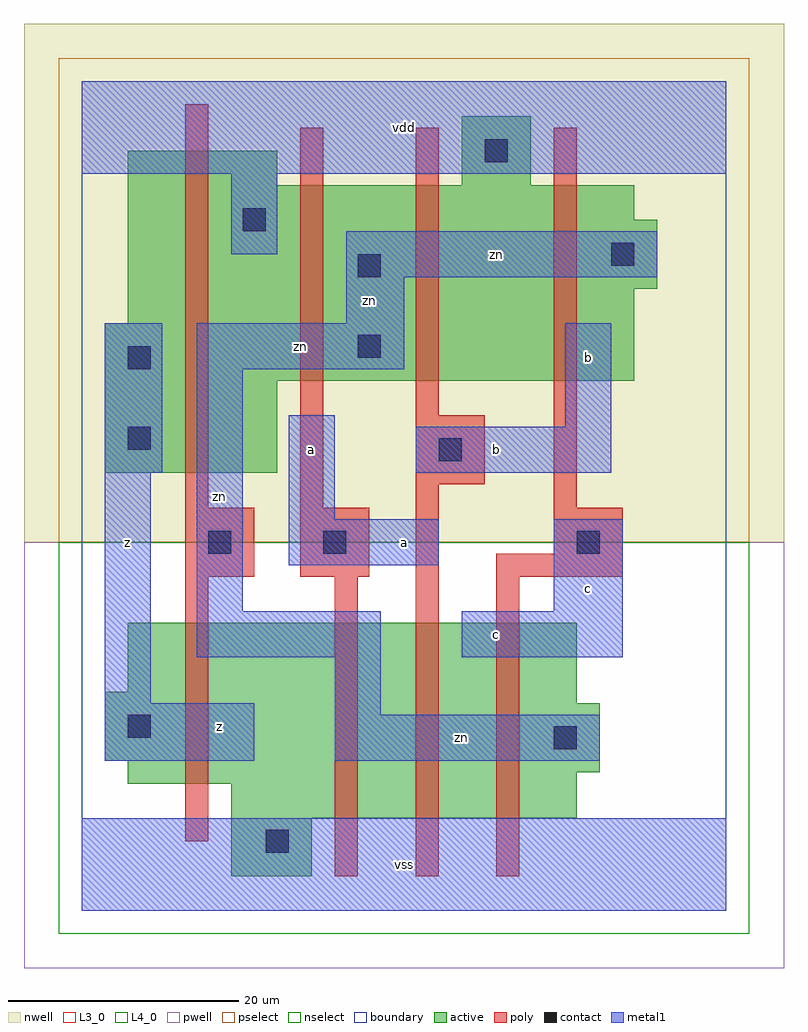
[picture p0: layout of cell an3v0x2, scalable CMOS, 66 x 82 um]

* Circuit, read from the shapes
.subckt an3v0x2 a b c vdd vss z zn
M1 vss zn z VSUBS nfet w=14u l=2u
M2 n1 a vss VSUBS nfet w=17u l=2u
M3 n2 b n1 VSUBS nfet w=17u l=2u
M4 zn c n2 VSUBS nfet w=17u l=2u
M5 vdd zn z n3 pfet w=28u l=2u
M6 zn a vdd n3 pfet w=17u l=2u
M7 vdd b zn n3 pfet w=17u l=2u
M8 zn c vdd n3 pfet w=17u l=2u
.ends

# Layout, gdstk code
import gdstk
lib = gdstk.Library(unit=1e-6, precision=1e-09)
def R(c, l, rs):  # rectangles x0, y0, x1, y1
    for r in rs: c.add(gdstk.rectangle(r[:2], r[2:], *l))
L3_0 = (3, 0)
L4_0 = (4, 0)
contact = (25, 0)
pwell = (41, 0)
nwell = (42, 0)
active = (43, 0)
pselect = (44, 0)
nselect = (45, 0)
poly = (46, 0)
metal1 = (49, 0)
boundary = (63, 0)

an3v0x2 = lib.new_cell('an3v0x2')
R(an3v0x2, L3_0, [(13,3,20,8), (13,8,43,11), (4,11,43,12), (4,12,45,13), (2,13,45,18), (2,18,43,19), (4,19,43,25)])
R(an3v0x2, L4_0, [(2,38,17,46), (2,46,48,51), (4,51,48,54), (4,54,50,60), (4,60,48,63), (4,63,17,66), (33,63,39,69)])
R(an3v0x2, contact, [(16,5,18,7), (41,14,43,16), (4,15,6,17), (11,31,13,33), (21,31,23,33), (43,31,45,33), (31,39,33,41), (4,40,6,42), (4,47,6,49), (24,48,26,50), (24,55,26,57), (46,56,48,58), (14,59,16,61), (35,65,37,67)])
R(an3v0x2, pwell, [(-5,-5,61,32)])
R(an3v0x2, nwell, [(-5,32,61,77)])
R(an3v0x2, active, [(13,3,20,8), (13,8,43,11), (4,11,43,12), (4,12,45,13), (2,13,45,18), (2,18,43,19), (4,19,43,25), (2,38,17,46), (2,46,48,51), (4,51,48,54), (4,54,50,60), (4,60,48,63), (4,63,17,66), (33,63,39,69)])
R(an3v0x2, pselect, [(-2,32,58,74)])
R(an3v0x2, nselect, [(-2,-2,58,32)])
R(an3v0x2, poly, [(22,3,24,29), (29,3,31,37), (36,3,38,29), (9,6,11,29), (9,29,15,35), (19,29,25,35), (36,29,47,31), (41,31,47,35), (9,35,11,70), (19,35,21,68), (41,35,43,68), (29,37,35,43), (29,43,31,68)])
R(an3v0x2, metal1, [(0,0,56,8), (2,13,15,18), (22,13,45,17), (22,17,26,22), (2,18,6,38), (10,22,26,26), (33,22,47,26), (10,26,14,47), (41,26,47,34), (18,30,31,34), (18,34,22,43), (2,38,7,51), (29,38,46,42), (42,42,46,51), (10,47,28,51), (23,51,28,55), (23,55,50,59), (13,57,17,64), (0,64,56,72)])
R(an3v0x2, boundary, [(0,0,56,72)])
an3v0x2.add(gdstk.Label('zn', (12,36), layer=49, texttype=0))
an3v0x2.add(gdstk.Label('zn', (25,53), layer=49, texttype=0))
an3v0x2.add(gdstk.Label('zn', (19,49), layer=49, texttype=0))
an3v0x2.add(gdstk.Label('zn', (33,15), layer=49, texttype=0))
an3v0x2.add(gdstk.Label('zn', (36,57), layer=49, texttype=0))
an3v0x2.add(gdstk.Label('z', (4,32), layer=49, texttype=0))
an3v0x2.add(gdstk.Label('z', (12,16), layer=49, texttype=0))
an3v0x2.add(gdstk.Label('a', (20,40), layer=49, texttype=0))
an3v0x2.add(gdstk.Label('vss', (28,4), layer=49, texttype=0))
an3v0x2.add(gdstk.Label('a', (28,32), layer=49, texttype=0))
an3v0x2.add(gdstk.Label('c', (36,24), layer=49, texttype=0))
an3v0x2.add(gdstk.Label('b', (36,40), layer=49, texttype=0))
an3v0x2.add(gdstk.Label('vdd', (28,68), layer=49, texttype=0))
an3v0x2.add(gdstk.Label('c', (44,28), layer=49, texttype=0))
an3v0x2.add(gdstk.Label('b', (44,48), layer=49, texttype=0))

lib.write_gds('an3v0x2.gds')
